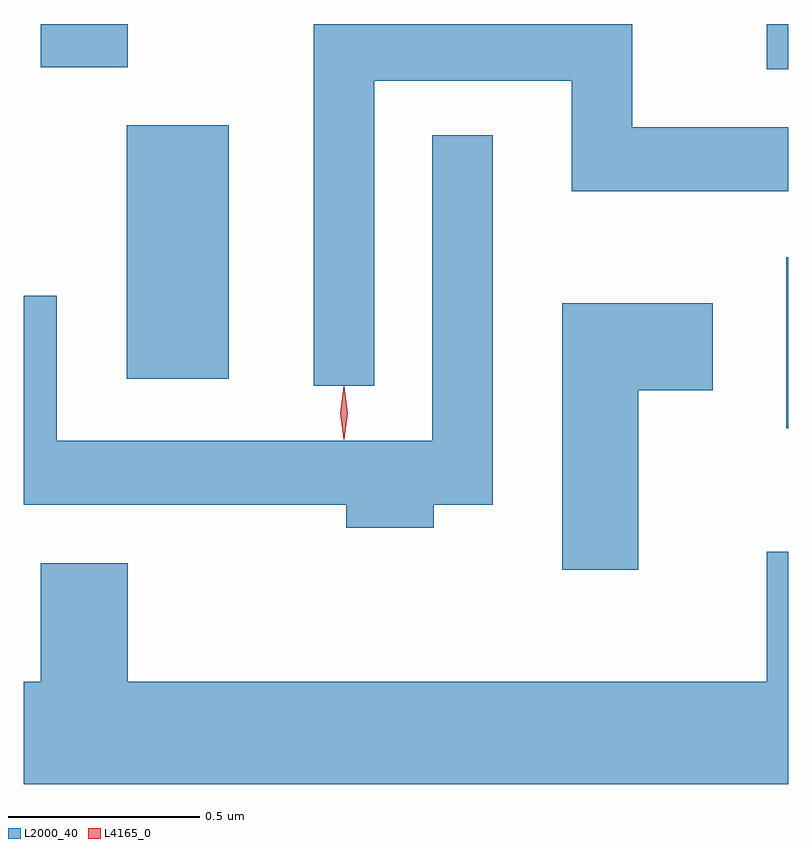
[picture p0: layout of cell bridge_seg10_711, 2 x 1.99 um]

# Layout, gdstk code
import gdstk
lib = gdstk.Library(unit=1e-6, precision=1e-09)
def R(c, l, rs):  # rectangles x0, y0, x1, y1
    for r in rs: c.add(gdstk.rectangle(r[:2], r[2:], *l))
def P(c, l, *ps):  # polygons
    for p in ps: c.add(gdstk.Polygon(p, *l))
L2000_40 = (2000, 40)
L4165_0 = (4165, 0)

bridge_seg10_711 = lib.new_cell('bridge_seg10_711')
R(bridge_seg10_711, L2000_40, [(958.101,2112.626,958.107,2113.074), (956.376,2112.756,956.644,2113.419), (958.051,2113.566,958.107,2113.684), (956.151,2113.571,956.379,2113.684)])
P(bridge_seg10_711, L2000_40, [(957.024,2113.536),(957.541,2113.536),(957.541,2113.246),(958.107,2113.246),(958.107,2113.414),(957.699,2113.414),(957.699,2113.684),(956.866,2113.684),(956.866,2112.738),(957.024,2112.738)],
  [(957.179,2112.426),(957.334,2112.426),(957.334,2113.393),(957.176,2113.393),(957.176,2112.594),(956.194,2112.594),(956.194,2112.973),(956.107,2112.973),(956.107,2112.426),(956.951,2112.426),(956.951,2112.366),(957.179,2112.366)],
  [(957.714,2112.726),(957.909,2112.726),(957.909,2112.954),(957.516,2112.954),(957.516,2112.256),(957.714,2112.256)],
  [(958.107,2112.304),(958.051,2112.304),(958.051,2111.964),(956.379,2111.964),(956.379,2112.274),(956.151,2112.274),(956.151,2111.964),(956.107,2111.964),(956.107,2111.696),(958.107,2111.696)])
P(bridge_seg10_711, L4165_0, [(956.945,2112.599),(956.944,2112.6),(956.935,2112.666),(956.944,2112.732),(956.945,2112.733),(956.945,2112.732),(956.955,2112.666),(956.945,2112.6)],
  [(956.944,2112.597),(956.935,2112.666),(956.944,2112.736),(956.945,2112.736),(956.945,2112.736),(956.955,2112.666),(956.945,2112.597),(956.945,2112.597)])

lib.write_gds('bridge_seg10_711.gds')
